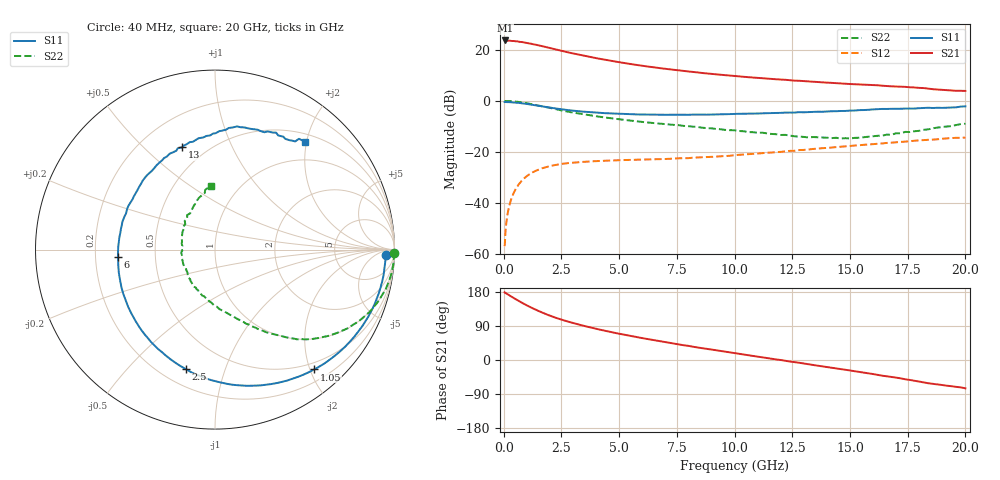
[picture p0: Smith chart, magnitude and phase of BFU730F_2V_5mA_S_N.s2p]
! Filename:  P:\Prog\Test\Noise\ATS_data\Testdata_Net\BFU730\BFU730_2W_B1_2V5mA_D.s2p
! Date/Time: Fri 29/Apr/2011 14:13:59
! BFU730_2W_B1_2V5mA
! bias mode 1: Vout= 2.0003 V, Iout= 5.0100 mA, Vin= 0.7873 V, Iin= 0.0145 mA
! Date/time Thu Mar 17 09:05:06 2011
! Device data file deembeded for feedlines and parallel
! Original file: \BFU730\BFU730_2W_B1_2V5mA_R.s2p
! Feed-files: PR003V01_101208_Feed1.s2p, PR003V01_101208_Feed2.s2p
! Parallel-file: PR003V01_101208_Par.s2p
# MHz S MA R 50
!  Freq-MHz  S11-mag  S11-arg  S21-mag  S21-arg  S12-mag  S12-arg  S22-mag  S22-arg
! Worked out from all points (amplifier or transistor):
!   167 points, 40 MHz to 20 GHz, reference 50 ohm
!   highest |S21| = 23.7 dB at 50 MHz (marker M1)
!   |S21| within 3 dB of that: start of sweep to 2.019 GHz
!   unconditionally stable (mu >= 1): 7.039 GHz to 15.99 GHz
!   at 550 MHz: K = 0.06, MSG = 28.8 dB, |S12| = -34.1 dB
!   at 4.2 GHz: K = 0.61, MSG = 20.0 dB, |S12| = -23.5 dB
!   at 20 GHz: K = 0.81, MSG = 9.2 dB, |S12| = -14.4 dB
!   lowest NFmin = 0.46 dB at 400 MHz
!   S11 on the Smith chart (normalised r, x): 40 MHz: 27, -19; 1.05 GHz: 0.39, -2.07; 2.5 GHz: 0.30, -0.74; 6 GHz: 0.30, -0.03; 13 GHz: 0.37, +0.66; 20 GHz: 0.63, +1.97
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40  0.9516 -2.0  15.33 178.5  0.001413 86.3  0.9981 -0.9
50  0.9515 -2.5  15.38 177.7  0.00155 75.3  0.998 -1.3
60  0.9515 -2.9  15.18 177.4  0.001962 90.2  0.9986 -1.5
220  0.9481 -10.9  15.23 171.7  0.007957 84.7  0.9951 -5.9
600  0.9197 -29.7  14.78 157.6  0.02134 73.8  0.9623 -15.9
800  0.8982 -39.2  14.32 150.8  0.02773 68.2  0.935 -20.8
1050  0.8666 -50.4  13.61 142.7  0.03477 61.8  0.8941 -26.5
1400  0.8189 -65.3  12.66 132.4  0.04279 53.9  0.8318 -33.4
1750  0.7722 -78.7  11.65 123.1  0.04903 47.4  0.7709 -39.3
2100  0.7296 -90.9  10.66 114.8  0.05383 41.8  0.7141 -44.5
2500  0.6854 -103.6  9.632 106.6  0.0581 36.5  0.6522 -49.3
2900  0.6513 -114.8  8.742 99.4  0.06084 32.1  0.6018 -52.8
3400  0.6189 -127.1  7.842 91.3  0.06351 27.9  0.5533 -57.2
4400  0.5751 -148.7  6.417 76.9  0.0672 21.9  0.473 -64.4
6000  0.5418 -175.9  4.902 57.8  0.07056 16.2  0.3875 -74.7
6800  0.5372 172.7  4.384 49.4  0.07228 14.8  0.3577 -79.7
8600  0.5386 150.4  3.534 31.1  0.07821 12.6  0.2982 -93.5
10200  0.5597 134.0  3.042 16.1  0.08762 11.8  0.2567 -108.5
13000  0.5986 107.9  2.448 -9.3  0.1094 5.7  0.1969 -144.0
13400  0.6079 105.1  2.381 -13.0  0.1143 4.3  0.1958 -151.5
16800  0.7003 76.4  1.933 -44.7  0.1517 -10.5  0.2173 139.5
20000  0.7833 50.2  1.572 -74.7  0.1909 -30.9  0.357 93.9
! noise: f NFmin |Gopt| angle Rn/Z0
400  0.4613  0.5245  6.22  0.1491
850  0.4807  0.4841  15.44  0.1488
1500  0.5111  0.4403  28.82  0.1457
2150  0.5442  0.4083  41.89  0.1401
3100  0.5976  0.3725  60.25  0.1284
4300  0.6736  0.3342  83.15  0.1103
6200  0.813  0.2928  123.4  0.0822
8800  1.042  0.336  180.3  0.0684
1.14e+04  1.315  0.439  221  0.1165
1.4e+04  1.633  0.5039  261.1  0.2632
